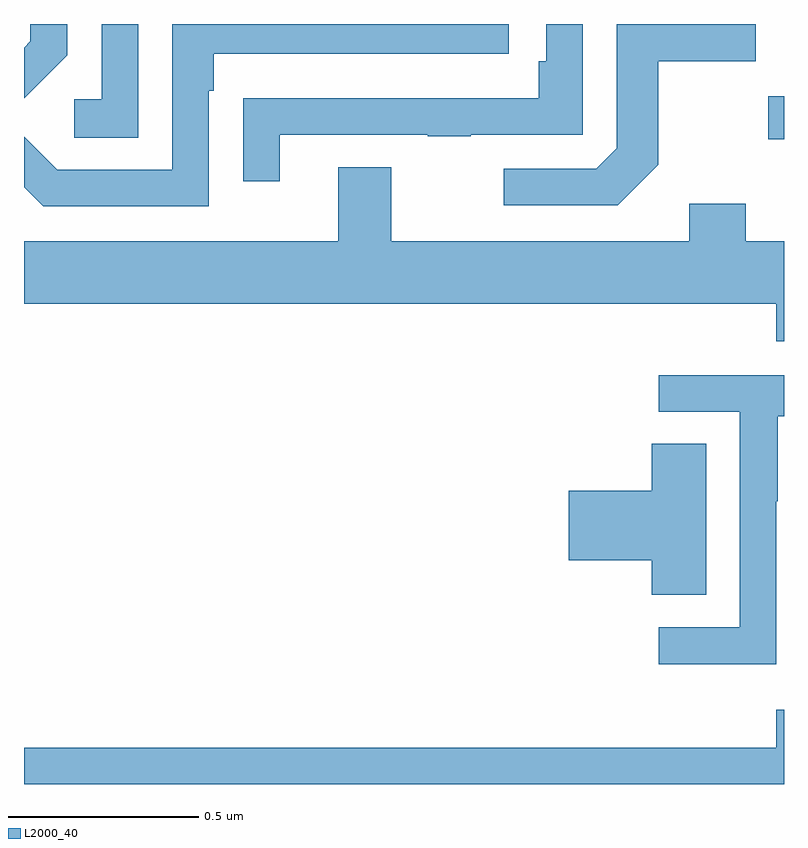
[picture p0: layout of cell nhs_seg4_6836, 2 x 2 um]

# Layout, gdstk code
import gdstk
lib = gdstk.Library(unit=1e-6, precision=1e-09)
def R(c, l, rs):  # rectangles x0, y0, x1, y1
    for r in rs: c.add(gdstk.rectangle(r[:2], r[2:], *l))
def P(c, l, *ps):  # polygons
    for p in ps: c.add(gdstk.Polygon(p, *l))
L2000_40 = (2000, 40)

nhs_seg4_6836 = lib.new_cell('nhs_seg4_6836')
R(nhs_seg4_6836, L2000_40, [(196.959,786.597,197,786.71)])
P(nhs_seg4_6836, L2000_40, [(196.669,786.529),(196.669,786.802),(196.925,786.802),(196.925,786.9),(196.56,786.9),(196.56,786.573),(196.506,786.519),(196.263,786.519),(196.263,786.423),(196.563,786.423)],
  [(195.114,786.818),(195.114,786.9),(195.017,786.9),(195.017,786.855),(195,786.838),(195,786.704)],
  [(195.3,786.9),(195.204,786.9),(195.204,786.702),(195.132,786.702),(195.132,786.601),(195.3,786.601)],
  [(195.486,786.725),(195.499,786.725),(195.499,786.822),(196.276,786.822),(196.276,786.9),(195.39,786.9),(195.39,786.516),(195.087,786.516),(195,786.603),(195,786.471),(195.051,786.42),(195.486,786.42)],
  [(195.673,786.609),(196.063,786.609),(196.063,786.604),(196.175,786.604),(196.175,786.609),(196.47,786.609),(196.47,786.9),(196.374,786.9),(196.374,786.802),(196.354,786.802),(196.354,786.705),(195.679,786.705),(195.679,786.704),(195.577,786.704),(195.577,786.486),(195.673,786.486)],
  [(197,786.328),(196.899,786.328),(196.899,786.427),(196.751,786.427),(196.751,786.328),(195.967,786.328),(195.967,786.523),(195.827,786.523),(195.827,786.328),(195,786.328),(195,786.164),(196.979,786.164),(196.979,786.065),(197,786.065)],
  [(196.98,785.644),(196.983,785.644),(196.983,785.868),(197,785.868),(197,785.976),(196.671,785.976),(196.671,785.88),(196.884,785.88),(196.884,785.313),(196.671,785.313),(196.671,785.215),(196.98,785.215)],
  [(196.795,785.795),(196.652,785.795),(196.652,785.672),(196.434,785.672),(196.434,785.489),(196.652,785.489),(196.652,785.398),(196.795,785.398)],
  [(197,785.095),(196.979,785.095),(196.979,784.996),(195,784.996),(195,784.9),(197,784.9)])

lib.write_gds('nhs_seg4_6836.gds')
